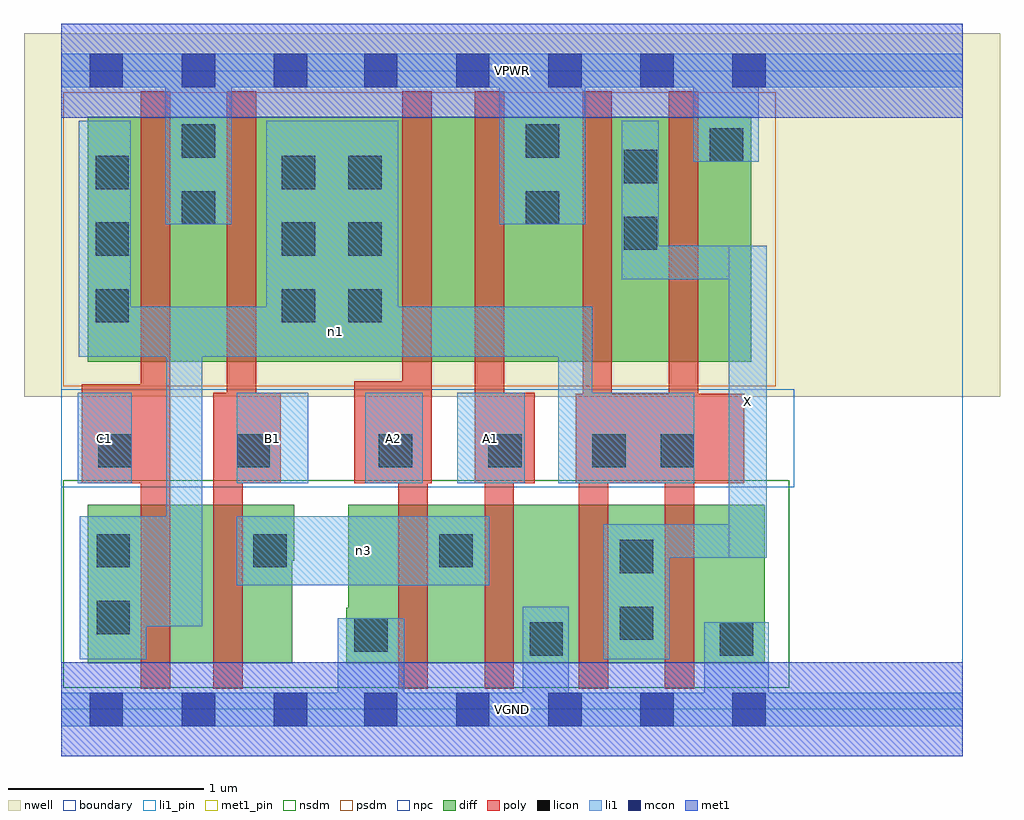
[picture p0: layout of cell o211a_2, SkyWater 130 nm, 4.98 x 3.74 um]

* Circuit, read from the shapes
.subckt o211a_2 A1 A2 B1 C1 VGND VPWR X n1 n3
XM1 n2 C1 n1 VSUBS sky130_fd_pr__nfet_01v8 w=0.81 l=0.15
XM2 n3 B1 n2 VSUBS sky130_fd_pr__nfet_01v8 w=0.81 l=0.15
XM3 n3 A2 VGND VSUBS sky130_fd_pr__nfet_01v8 w=0.81 l=0.15
XM4 VGND A1 n3 VSUBS sky130_fd_pr__nfet_01v8 w=0.81 l=0.15
XM5 X n1 VGND VSUBS sky130_fd_pr__nfet_01v8 w=0.81 l=0.15 m=2
XM6 VPWR C1 n1 n4 sky130_fd_pr__pfet_01v8 w=1.25 l=0.15
XM7 n1 B1 VPWR n4 sky130_fd_pr__pfet_01v8 w=1.25 l=0.15
XM8 n5 A2 n1 n4 sky130_fd_pr__pfet_01v8 w=1.25 l=0.15
XM9 VPWR A1 n5 n4 sky130_fd_pr__pfet_01v8 w=1.25 l=0.15
XM10 X n1 VPWR n4 sky130_fd_pr__pfet_01v8 w=1.25 l=0.15 m=2
.ends

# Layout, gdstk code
import gdstk
lib = gdstk.Library(unit=1e-6, precision=1e-09)
def R(c, l, rs):  # rectangles x0, y0, x1, y1
    for r in rs: c.add(gdstk.rectangle(r[:2], r[2:], *l))
def A(c, l, x, y, w, h, nx, ny, dx, dy):  # array of equal rectangles
    R(c, l, [(x+i*dx, y+j*dy, x+i*dx+w, y+j*dy+h) for i in range(nx) for j in range(ny)])
nwell = (64, 20)
diff = (65, 20)
poly = (66, 20)
licon = (66, 44)
li1_pin = (67, 16)
li1 = (67, 20)
mcon = (67, 44)
met1_pin = (68, 16)
met1 = (68, 20)
nsdm = (93, 44)
psdm = (94, 20)
npc = (95, 20)
boundary = (235, 4)

o211a_2 = lib.new_cell('o211a_2')
R(o211a_2, nwell, [(-0.19,1.595,4.79,3.45), (0,1.595,4.6,3.45)])
R(o211a_2, diff, [(0.135,0.235,1.18,1.045), (1.455,0.235,3.59,0.52), (1.465,0.235,3.59,1.045), (0.135,0.76,1.19,1.045), (0.135,1.775,3.52,3.025)])
R(o211a_2, poly, [(0.405,0.105,0.555,3.155), (0.775,0.105,0.925,1.615), (0.845,0.105,0.925,3.155), (1.72,0.105,1.87,1.675), (2.16,0.105,2.31,1.615), (2.64,0.105,2.79,1.61), (3.08,0.105,3.23,1.61), (0.105,1.155,0.555,1.66), (0.775,1.155,1.12,1.615), (0.925,1.155,0.995,3.155), (1.495,1.155,1.89,1.675), (1.74,1.155,1.89,3.155), (2.11,1.155,2.26,3.155), (2.11,1.155,2.415,1.615), (2.625,1.155,3.485,1.61), (2.66,1.155,2.81,3.155), (3.1,1.155,3.25,3.155)])
A(o211a_2, licon, 0.175, 1.975, 0.17, 0.17, 1, 3, 0, 0.34)
A(o211a_2, licon, 1.125, 1.975, 0.17, 0.17, 1, 3, 0, 0.34)
A(o211a_2, licon, 1.465, 1.975, 0.17, 0.17, 1, 3, 0, 0.34)
R(o211a_2, licon, [(2.39,0.275,2.56,0.445), (3.36,0.275,3.53,0.445), (1.495,0.295,1.665,0.465), (2.85,0.355,3.02,0.525), (0.18,0.385,0.35,0.555), (2.85,0.695,3.02,0.865), (0.18,0.725,0.35,0.895), (0.98,0.725,1.15,0.895), (1.93,0.725,2.1,0.895), (0.19,1.235,0.36,1.405), (0.895,1.235,1.065,1.405), (1.62,1.235,1.79,1.405), (2.18,1.235,2.35,1.405), (2.71,1.235,2.88,1.405), (3.06,1.235,3.23,1.405), (2.87,2.345,3.04,2.515), (0.615,2.475,0.785,2.645), (2.37,2.475,2.54,2.645), (2.87,2.685,3.04,2.855), (3.31,2.795,3.48,2.965), (0.615,2.815,0.785,2.985), (2.37,2.815,2.54,2.985)])
R(o211a_2, li1_pin, [(3.405,0.775,3.6,2.365), (0.085,1.155,0.36,1.615), (0.895,1.155,1.26,1.615), (1.55,1.155,1.845,1.615), (2.02,1.155,2.365,1.615)])
R(o211a_2, li1, [(0,-0.085,4.6,0.085), (1.41,-0.085,1.75,0.465), (2.355,-0.085,2.59,0.525), (3.28,-0.085,3.61,0.445), (0.095,0.255,0.435,0.985), (2.765,0.255,3.105,0.945), (0.095,0.425,0.72,0.985), (0.535,0.425,0.72,2.055), (0.895,0.635,2.185,0.985), (2.765,0.775,3.6,0.945), (3.405,0.775,3.6,2.365), (0.085,1.155,0.36,1.615), (0.895,1.155,1.26,1.615), (1.55,1.155,1.845,1.615), (2.02,1.155,2.365,1.615), (2.535,1.155,3.23,1.615), (2.535,1.155,2.71,2.055), (0.09,1.8,2.71,2.055), (0.09,1.8,0.355,3.005), (1.045,1.8,1.72,3.005), (2.86,2.195,3.05,3.005), (2.86,2.195,3.6,2.365), (0.53,2.475,0.87,3.345), (2.235,2.475,2.675,3.345), (3.225,2.795,3.56,3.345), (0,3.175,4.6,3.345)])
A(o211a_2, mcon, 0.145, -0.085, 0.17, 0.17, 3, 2, 0.47, 3.26)
A(o211a_2, mcon, 1.545, -0.085, 0.17, 0.17, 5, 2, 0.47, 3.26)
R(o211a_2, met1_pin, [(0,-0.24,4.6,0.24), (0,3.02,4.6,3.5)])
R(o211a_2, met1, [(0,-0.24,4.6,0.24), (0,3.02,4.6,3.5)])
R(o211a_2, nsdm, [(0.01,0.11,3.715,1.17)])
R(o211a_2, psdm, [(0.01,1.65,3.645,3.15)])
R(o211a_2, npc, [(0,1.135,3.74,1.635)])
R(o211a_2, boundary, [(0,0,4.6,3.26)])
o211a_2.add(gdstk.Label('A1', (2.192,1.385), layer=67, texttype=5))
o211a_2.add(gdstk.Label('A2', (1.697,1.385), layer=67, texttype=5))
o211a_2.add(gdstk.Label('B1', (1.077,1.385), layer=67, texttype=5))
o211a_2.add(gdstk.Label('C1', (0.222,1.385), layer=67, texttype=5))
o211a_2.add(gdstk.Label('X', (3.502,1.57), layer=67, texttype=5))
o211a_2.add(gdstk.Label('n3', (1.54,0.81), layer=67, texttype=5))
o211a_2.add(gdstk.Label('n1', (1.4,1.927), layer=67, texttype=5))
o211a_2.add(gdstk.Label('VPWR', (2.3,3.26), layer=68, texttype=5))
o211a_2.add(gdstk.Label('VGND', (2.3,0), layer=68, texttype=5))
o211a_2.add(gdstk.Label('A1', (2.192,1.385), layer=67, texttype=16))
o211a_2.add(gdstk.Label('A2', (1.697,1.385), layer=67, texttype=16))
o211a_2.add(gdstk.Label('B1', (1.077,1.385), layer=67, texttype=16))
o211a_2.add(gdstk.Label('C1', (0.222,1.385), layer=67, texttype=16))
o211a_2.add(gdstk.Label('X', (3.502,1.57), layer=67, texttype=16))
o211a_2.add(gdstk.Label('VPWR', (2.3,3.26), layer=68, texttype=16))
o211a_2.add(gdstk.Label('VGND', (2.3,0), layer=68, texttype=16))

lib.write_gds('o211a_2.gds')
